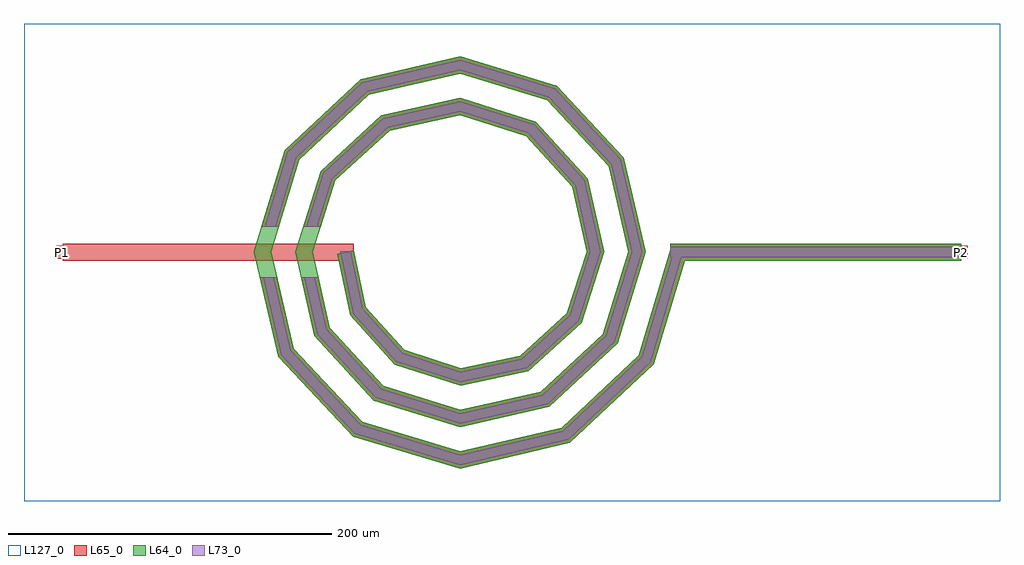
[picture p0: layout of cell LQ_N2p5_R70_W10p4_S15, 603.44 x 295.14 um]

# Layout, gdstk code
import gdstk
lib = gdstk.Library(unit=1e-6, precision=1e-09)
def R(c, l, rs):  # rectangles x0, y0, x1, y1
    for r in rs: c.add(gdstk.rectangle(r[:2], r[2:], *l))
def P(c, l, *ps):  # polygons
    for p in ps: c.add(gdstk.Polygon(p, *l))
L64_0 = (64, 0)
L65_0 = (65, 0)
L73_0 = (73, 0)
L127_0 = (127, 0)

lq_n2p5_r70_w10p4_s15 = lib.new_cell('LQ_N2p5_R70_W10p4_S15')
R(lq_n2p5_r70_w10p4_s15, L64_0, [(129.833,-5.2,309.834,5.2)])
P(lq_n2p5_r70_w10p4_s15, L64_0, [(-58.369,-34.039),(-34.607,-60.513),(0.278,-71.85),(37.23,-63.942),(66.063,-37.837),(78.272,0.257),(69.514,40.423),(41.065,71.615),(0.239,84.694),(-43.619,75.085),(-77.169,44.29),(-91.116,0.223),(-80.654,-46.817),(-47.514,-82.724),(0.209,-97.539),(50.017,-86.223),(88.279,-50.737),(103.961,0.197),(91.791,53.218),(53.958,93.836),(0.186,110.384),(-56.42,97.358),(-99.393,57.178),(-116.807,0.176),(-102.925,-59.624),(-60.397,-104.951),(0.167,-123.229),(62.828,-108.492),(110.509,-63.616),(130.053,1.495),(140.014,-1.495),(119.668,-69.277),(67.924,-117.977),(0.167,-133.992),(-66.073,-114.101),(-112.418,-64.705),(-127.569,0.176),(-108.534,62.869),(-61.485,106.86),(0.186,121.145),(59.666,102.966),(101.303,58.265),(114.722,0.197),(97.398,-56.464),(55.043,-95.746),(0.209,-108.299),(-53.264,-91.829),(-90.19,-51.82),(-101.875,0.223),(-86.258,50.064),(-48.595,84.635),(0.239,95.452),(46.867,80.687),(79.08,45.368),(89.028,0.257),(75.114,-43.672),(42.138,-73.527),(0.278,-82.604),(-40.479,-69.54),(-67.976,-38.906),(-75.894,-1.065),(-65.714,1.065)])
R(lq_n2p5_r70_w10p4_s15, L65_0, [(-245.604,-5.2,-65.604,5.2), (129.833,-5.2,309.834,5.2), (-249.604,-4,-241.604,4), (305.834,-4,313.834,4)])
P(lq_n2p5_r70_w10p4_s15, L65_0, [(-102.925,-59.624),(-60.397,-104.951),(0.167,-123.229),(62.828,-108.492),(110.509,-63.616),(130.053,1.495),(140.014,-1.495),(119.668,-69.277),(67.924,-117.977),(0.167,-133.992),(-66.073,-114.101),(-112.418,-64.705),(-123.885,-15.6),(-113.205,-15.6)],
  [(-80.654,-46.817),(-47.514,-82.724),(0.209,-97.539),(50.017,-86.223),(88.279,-50.737),(103.961,0.197),(91.791,53.218),(53.958,93.836),(0.186,110.384),(-56.42,97.358),(-99.393,57.178),(-112.017,15.6),(-122.886,15.6),(-108.534,62.869),(-61.485,106.86),(0.186,121.145),(59.666,102.966),(101.303,58.265),(114.722,0.197),(97.398,-56.464),(55.043,-95.746),(0.209,-108.299),(-53.264,-91.829),(-90.19,-51.82),(-98.323,-15.6),(-87.664,-15.6)],
  [(-34.607,-60.513),(0.278,-71.85),(37.23,-63.942),(66.063,-37.837),(78.272,0.257),(69.514,40.423),(41.065,71.615),(0.239,84.694),(-43.619,75.085),(-77.169,44.291),(-86.159,15.6),(-97.057,15.6),(-86.258,50.064),(-48.595,84.635),(0.239,95.452),(46.867,80.687),(79.08,45.368),(89.028,0.257),(75.114,-43.672),(42.138,-73.527),(0.278,-82.604),(-40.479,-69.54),(-67.976,-38.906),(-75.894,-1.065),(-65.714,1.065),(-58.369,-34.039)])
R(lq_n2p5_r70_w10p4_s15, L73_0, [(129.833,-3.2,309.834,3.2)])
P(lq_n2p5_r70_w10p4_s15, L73_0, [(-104.751,-60.601),(-61.489,-106.71),(0.103,-125.299),(63.808,-110.316),(112.27,-64.704),(131.969,0.92),(138.098,0.92),(117.907,-68.188),(66.944,-116.153),(0.103,-131.922),(-64.981,-112.341),(-110.593,-63.728),(-121.831,-15.6),(-115.259,-15.6)],
  [(-82.488,-47.779),(-48.62,-84.475),(0.129,-99.608),(50.984,-88.054),(90.033,-51.838),(106.031,0.121),(93.62,54.189),(55.056,95.592),(0.114,112.454),(-57.394,99.186),(-101.151,58.272),(-114.107,15.6),(-120.795,15.6),(-106.776,61.774),(-60.511,105.033),(0.114,119.076),(58.568,101.21),(99.474,57.294),(112.653,0.121),(95.644,-55.363),(54.076,-93.915),(0.129,-106.23),(-52.158,-90.078),(-88.356,-50.858),(-96.273,-15.6),(-89.713,-15.6)],
  [(-35.736,-62.249),(0.171,-73.918),(38.174,-65.786),(67.804,-38.959),(80.34,0.158),(71.354,41.374),(42.181,73.36),(0.147,86.763),(-44.576,76.921),(-78.917,45.401),(-88.255,15.6),(-94.961,15.6),(-84.511,48.954),(-47.638,82.798),(0.147,93.383),(45.751,78.943),(77.241,44.417),(86.96,0.158),(73.374,-42.55),(41.194,-71.684),(0.171,-80.536),(-39.35,-67.804),(-66.128,-37.97),(-73.936,0.655),(-67.672,0.655),(-60.216,-34.975)])
R(lq_n2p5_r70_w10p4_s15, L127_0, [(-269.604,-153.992,333.834,141.145)])
lq_n2p5_r70_w10p4_s15.add(gdstk.Label('P2', (309.834,0), layer=65, texttype=0))
lq_n2p5_r70_w10p4_s15.add(gdstk.Label('P1', (-245.604,0), layer=65, texttype=0))
lq_n2p5_r70_w10p4_s15.add(gdstk.Label('P2', (313.834,0), layer=145, texttype=0))
lq_n2p5_r70_w10p4_s15.add(gdstk.Label('P1', (-249.604,0), layer=145, texttype=0))

lib.write_gds('LQ_N2p5_R70_W10p4_S15.gds')
